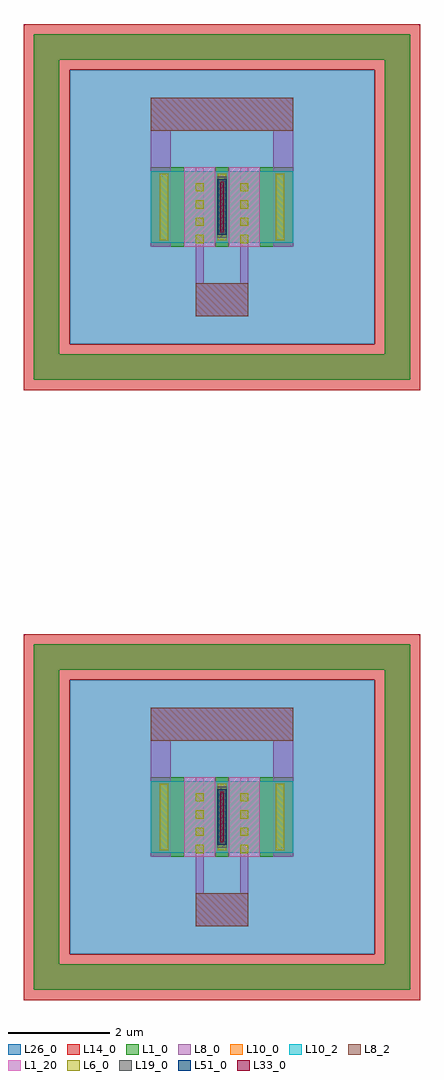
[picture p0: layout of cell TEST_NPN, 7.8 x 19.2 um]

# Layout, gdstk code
import gdstk
lib = gdstk.Library(unit=1e-6, precision=1e-09)
def R(c, l, rs):  # rectangles x0, y0, x1, y1
    for r in rs: c.add(gdstk.rectangle(r[:2], r[2:], *l))
def A(c, l, x, y, w, h, nx, ny, dx, dy):  # array of equal rectangles
    R(c, l, [(x+i*dx, y+j*dy, x+i*dx+w, y+j*dy+h) for i in range(nx) for j in range(ny)])
def P(c, l, *ps):  # polygons
    for p in ps: c.add(gdstk.Polygon(p, *l))
L1_0 = (1, 0)
L1_20 = (1, 20)
L6_0 = (6, 0)
L8_0 = (8, 0)
L8_2 = (8, 2)
L10_0 = (10, 0)
L10_2 = (10, 2)
L14_0 = (14, 0)
L19_0 = (19, 0)
L26_0 = (26, 0)
L33_0 = (33, 0)
L51_0 = (51, 0)

npn13g2l = lib.new_cell('npn13G2L')
R(npn13g2l, L1_0, [(2.5,2.82,3.16,4.38), (3.77,2.82,4.03,4.38), (4.64,2.82,5.3,4.38)])
P(npn13g2l, L1_0, [(0.2,0.2),(0.2,7),(7.1,7),(7.1,6.5),(0.7,6.5),(0.7,0.7),(7.1,0.7),(7.1,7),(7.6,7),(7.6,0.2)])
R(npn13g2l, L1_20, [(3.16,2.82,3.77,4.38), (4.03,2.82,4.64,4.38)])
A(npn13g2l, L6_0, 3.385, 2.89, 0.16, 0.16, 1, 4, 0, 0.34)
A(npn13g2l, L6_0, 4.255, 2.89, 0.16, 0.16, 1, 4, 0, 0.34)
A(npn13g2l, L6_0, 2.68, 2.95, 0.16, 1.3, 3, 1, 1.14, 0)
R(npn13g2l, L8_0, [(3.385,1.45,4.415,2.1), (3.385,2.1,3.545,4.38), (4.255,2.1,4.415,4.38), (2.5,2.82,2.89,5.1), (4.91,2.82,5.3,5.1), (3.77,2.9,4.03,4.3), (2.5,5.1,5.3,5.75)])
R(npn13g2l, L8_2, [(3.385,1.45,4.415,2.1), (2.5,5.1,5.3,5.75)])
R(npn13g2l, L10_0, [(2.5,2.9,5.3,4.3)])
R(npn13g2l, L10_2, [(2.5,2.9,5.3,4.3)])
P(npn13g2l, L14_0, [(0,0),(0,7.2),(6.9,7.2),(6.9,6.3),(0.9,6.3),(0.9,0.9),(6.9,0.9),(6.9,7.2),(7.8,7.2),(7.8,0)])
R(npn13g2l, L19_0, [(3.805,3,3.995,4.2)])
R(npn13g2l, L26_0, [(0.9,0.9,6.9,6.3)])
R(npn13g2l, L33_0, [(3.865,3.1,3.935,4.1)])
R(npn13g2l, L51_0, [(3.815,3.05,3.985,4.15)])
npn13g2l.add(gdstk.Label('E', (3.9,3.6), layer=63, texttype=0))
npn13g2l.add(gdstk.Label('B', (3.9,1.775), layer=63, texttype=0))
npn13g2l.add(gdstk.Label('C', (3.9,5.425), layer=63, texttype=0))
npn13g2l.add(gdstk.Label('npn13G2L', (1.75,1), layer=63, texttype=0))
npn13g2l.add(gdstk.Label('Ae=1*1*1.00*0.07', (1.5,1), layer=63, texttype=0))
npn13g2l.add(gdstk.Label('npn13G2L', (3.9,3.6), layer=51, texttype=0))

test_npn = lib.new_cell('TEST_NPN')
test_npn.add(gdstk.Reference(npn13g2l, (0,0)))
test_npn.add(gdstk.Reference(npn13g2l, (0,12)))

lib.write_gds('TEST_NPN.gds')
